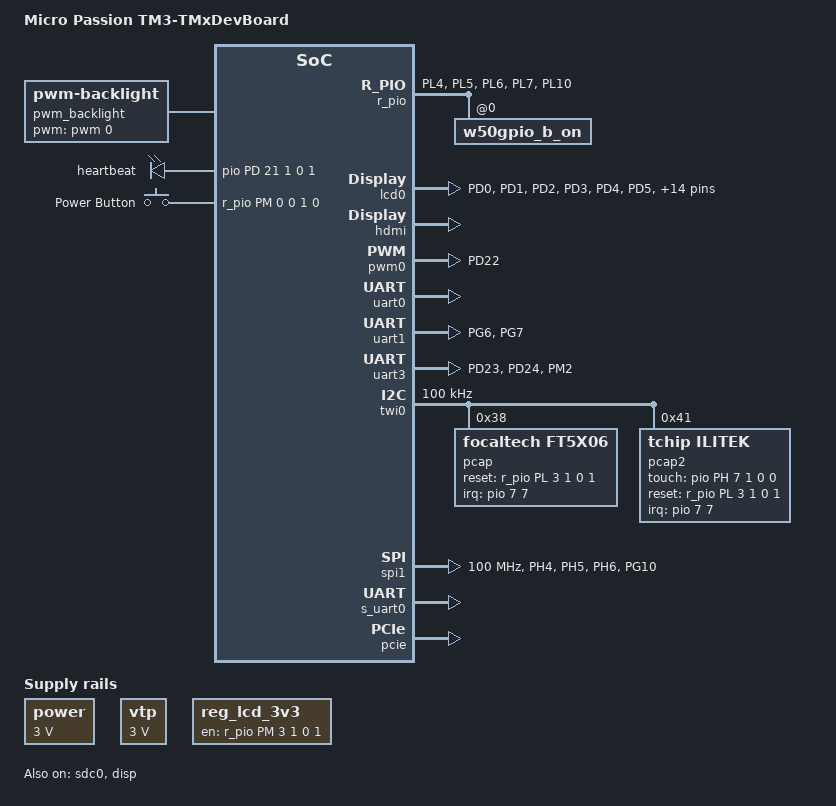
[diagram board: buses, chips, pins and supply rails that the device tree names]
/*
 * Allwinner Technology CO., Ltd. sun50iw6p1 soc board.
 *
 * soc board support.
 */

/dts-v1/;

#include <dt-bindings/input/input.h>

#include "tm3.dtsi"

/ {
	model = "Micro Passion TM3-TMxDevBoard";

	hbxregulators {
		compatible = "simple-bus";

		power{
			compatible = "regulator-fixed";
			regulator-name = "power";
			regulator-min-microvolt = <3000000>;
			regulator-max-microvolt = <3000000>;
			regulator-always-on;
		};

		vtp: vtpreg{
			compatible = "regulator-fixed";
			regulator-name = "vtp";
			regulator-min-microvolt = <3000000>;
			regulator-max-microvolt = <3000000>;
			regulator-always-on;
		};

		reg_lcd_3v3: lcd-3v3 {
			compatible = "regulator-fixed";
			regulator-name = "vcc-lcd-0";
			gpio = <&r_pio PM 3 1 0 1 0>;
			enable-active-high;
		};
	};	

	pwm_backlight: pwm-backlight
	{
		compatible = "pwm-backlight";
		pwms = <&pwm 0 10000>;
		brightness-levels = <0 1 2 3 4 5 6 7 8 9 10 11 12 13 14 15 16 17 18 19 20 21 22 23 24 25 26 27 28 29 30 31 32 33 34 35 36 37 38 39 40 41 42 43 44 45 46 47 48 49 50 51 52 53 54 55 56 57 58 59 60 61 62 63 64 65 66 67 68 69 70 71 72 73 74 75 76 77 78 79 80 81 82 83 84 85 86 87 88 89 90 91 92 93 94 95 96 97 98 99 100>;
		status = "okay";
		defaultbrightnesslevel=<80>;
		initial-blank-powerdown;
	};

	leds {
		compatible = "gpio-leds";
        status = "okay";

		debug-led {
			label = "heartbeat";
			gpios = <&pio  PD 21 1 0 1 0>;
			linux,defaulttrigger = "heartbeat";
		};
	};

	gpio-keys {
		compatible = "gpio-keys";

		power {
			label = "Power Button";
			gpios = <&r_pio PM 0 0 1 0 0>;
			gpio-key,wakeup;
			linux,code = <KEY_SLEEP>;
		};
	};
};

&pio
{
	pinctrl-0 = <&pinctrl_hog_hostboard>, <&w50gpio_a_on>;

	lcd0_pins_0: lcd0@0{
		allwinner,pins = "PD0", "PD1", "PD2", "PD3", "PD4", "PD5", "PD6", "PD7", "PD8", "PD9", "PD10", "PD11", "PD12", "PD13", "PD14", "PD15", "PD16", "PD17", "PD18", "PD19";
		allwinner,function = "lcd0";
		allwinner,pname = "lcdd0", "lcdd1", "lcdd2", "lcdd3", "lcdd4", "lcdd5", "lcdd6", "lcdd7", "lcdd8", "lcdd9", "lcdd10", "lcdd11", "lcdd12", "lcdd13", "lcdd14", "lcdd15", "lcdd16", "lcdd17", "lcdd18", "lcdd19";
		allwinner,muxsel = <0x2>;
		allwinner,pull = <0x0>;
		allwinner,drive = <0x03>;
		allwinner,data = <0xffffffff>;
	};

	lcd0_pins_1: lcd0@1{
		allwinner,pins = "PD0", "PD1", "PD2", "PD3", "PD4", "PD5", "PD6", "PD7", "PD8", "PD9", "PD10", "PD11", "PD12", "PD13", "PD14", "PD15", "PD16", "PD17", "PD18", "PD19";
		allwinner,function = "lcd0";
		allwinner,pname = "lcdd0", "lcdd1", "lcdd2", "lcdd3", "lcdd4", "lcdd5", "lcdd6", "lcdd7", "lcdd8", "lcdd9", "lcdd10", "lcdd11", "lcdd12", "lcdd13", "lcdd14", "lcdd15", "lcdd16", "lcdd17", "lcdd18", "lcdd19";
		allwinner,muxsel = <0x7>;
		allwinner,pull = <0x0>;
		allwinner,drive = <0xffffffff>;
		allwinner,data = <0xffffffff>;
	};

	pwm0_pins_0: pwm0@0 {
		allwinner,pins = "PD22";
		allwinner,function = "pwm0";
		allwinner,pname = "pwm_positive";
		allwinner,muxsel = <0x2>;
		allwinner,pull = <0x0>;
		allwinner,drive = <0xffffffff>;
		allwinner,data = <0xffffffff>;
	};

	pwm0_pins_1: pwm0@1 {
		allwinner,pins = "PD22";
		allwinner,function = "pwm0";
		allwinner,pname = "pwm_positive";
		allwinner,muxsel = <0x7>;
		allwinner,pull = <0x0>;
		allwinner,drive = <0xffffffff>;
		allwinner,data = <0xffffffff>;
	};

	uart1_pins_a: uart1@0 {
		allwinner,pins = "PG6", "PG7";
		allwinner,pname = "uart1_tx", "uart1_rx";
		allwinner,function = "uart1";
		allwinner,muxsel = <2>;
		allwinner,drive = <1>;
		allwinner,pull = <1>;
	};

	uart1_pins_b: uart1@1 {
		allwinner,pins = "PG6", "PG7";
		allwinner,function = "io_disabled";
		allwinner,muxsel = <7>;
		allwinner,drive = <1>;
		allwinner,pull = <0>;
	};

	uart3_uart_pins: uart3uartpins {
		allwinner,pins = "PD23", "PD24";
		allwinner,pname = "uart3_tx", "uart3_rx";
		allwinner,function = "uart3";
		allwinner,muxsel = <4>;
		allwinner,drive = <1>;
		allwinner,pull = <1>;
	};

	uart3_sleep_pins: uart3sleeppins {
		allwinner,pins = "PD23", "PD24";
		allwinner,function = "io_disabled";
		allwinner,muxsel = <7>;
		allwinner,drive = <1>;
		allwinner,pull = <0>;
	};

	spi1_pins_a: spi1@0 {
		allwinner,pins = "PH4", "PH5", "PH6";
		allwinner,pname = "spi1_sclk", "spi1_mosi",
					"spi1_miso";
		allwinner,function = "spi1";
		allwinner,muxsel = <2>;
		allwinner,drive = <1>;
		allwinner,pull = <0>;
	};

	spi1_pins_b: spi1@1 {
		allwinner,pins = "PG10";
		allwinner,pname = "spi1_cs0";
		allwinner,function = "spi1";
		allwinner,muxsel = <0>;
		allwinner,drive = <1>;
		allwinner,pull = <1>;	// only CS should be pulled up
	};

	spi1_pins_c: spi1@2 {
		allwinner,pins = "PG10", "PH4", "PH5", "PH6";
		allwinner,function = "io_disabled";
		allwinner,muxsel = <7>;
		allwinner,drive = <1>;
		allwinner,pull = <0>;
	};

	/* gpios exposed to  50w connector */
	w50gpio_a_on: w50gpio_a_on@0
	{
		/*          GPIO:    5      6      7       8       9      10     12*/
		allwinner,pins =   "PG8", "PG9", "PG12", "PG13", "PG14", "PF6", "PH3" ;
		allwinner,function = "gpio_in";
		allwinner,muxsel = <0>;
		allwinner,drive = <1>;
		allwinner,pull = <1>;
	};
};

&r_pio{
	pinctrl-0 = <&rpio_pinctrl_hog_hostboard>, <&w50gpio_b_on>;

	uart3_control_pins: uart3controlpins {
		allwinner,pins = "PM2";
		allwinner,pname = "entx";
		allwinner,function = "uart3";
		allwinner,muxsel = <0>;
		allwinner,drive = <0>;
		allwinner,pull = <0>;
	};


	/* gpios exposed to  50w connector */
	w50gpio_b_on: w50gpio_b_on@0
	{
		/*          GPIO:  1      2      3      4     11  */
		allwinner,pins = "PL4", "PL5", "PL6", "PL7", "PL10" ;
		allwinner,function = "gpio_in";
		allwinner,muxsel = <0>;
		allwinner,drive = <1>;
		allwinner,pull = <1>;
	};
};

&sdc0 {
	compatible = "allwinner,sunxi-mmc-v4p1x";
	device_type = "sdc0";
	reg = <0x0 0x04020000 0x0 0x1000>;
	interrupts = <GIC_SPI 35 0x0104>;
	clocks = <&clk_hosc>,
			<&clk_pll_periph1x2>,
			<&clk_sdmmc0_mod>,
			<&clk_sdmmc0_bus>,
			<&clk_sdmmc0_rst>;
	clock-names = "osc24m","pll_periph","mmc","ahb","rst";
	pinctrl-names = "default","sleep" ,"uart_jtag";
	pinctrl-0 = <&sdc0_pins_a>;
	pinctrl-1 = <&sdc0_pins_b>;
	pinctrl-2 = <&sdc0_pins_c>;
	max-frequency = <50000000>;
	bus-width = <4>;
	/*non-removable;*/
	/*broken-cd;*/
	/*cd-inverted*/
	cd-gpios = <&pio PG 11 0 0 0 0xffffffff>;
	cap-sd-highspeed;
	no-sdio;
	no-mmc;

	status = "okay";
};

/* 9inch */
&lcd0{
device_type = "lcd0";
	lcd_used = <0x1>;
	lcd_driver_name = "default_lcd";
	lcd_backlight = <0>;
	lcd_if = <0x0>;
	lcd_hv_if = <0x00>;
	lcd_x = <1024>;
	lcd_y = <768>;
	lcd_width = <0x96>;
	lcd_height = <0x5e>;
	lcd_dclk_freq = <100>;
	lcd_pwm_used = <0>;
	lcd_pwm_ch = <0>;
	lcd_pwm_freq = <10000>;
	lcd_pwm_pol = <0x1>;
	lcd_pwm_max_limit = <255>;
	lcd_hbp = <260>;
	lcd_ht = <2024>;
	lcd_hspw = <260>;
	lcd_vbp = <6>;
	lcd_vt = <800>;
	lcd_vspw = <10>;
	lcd_lvds_if = <0x0>;
	lcd_lvds_colordepth = <0x1>;
	lcd_lvds_mode = <0x0>;
	lcd_frm = <0x1>;
	lcd_hv_clk_phase = <0x2>;
	lcd_hv_sync_polarity = <0x1>;
	lcd_gamma_en = <0x0>;
	lcd_bright_curve_en = <0x0>;
	lcd_cmap_en = <0x0>;
	lcd_bl_en;
	lcd_bl_en_power = "none";
	lcd_power = "vcc-lcd-0";
	lcd_bl_device = <&pwm_backlight>;
	pinctrl-0 = <&lcd0_pins_0>;
	lcdd20 = <0xd6 0xc 0x3 0x1 0x0 0x1 0x1>;
	pinctrl-1 = <&lcd0_pins_1>;
};


/* 7 inch 
&lcd0{
device_type = "lcd0";
	lcd_used = <0x1>;
	lcd_driver_name = "default_lcd";
	lcd_backlight = <0>;
	lcd_if = <0x0>;
	lcd_hv_if = <0x00>;
	lcd_x = <800>;
	lcd_y = <480>;
	lcd_width = <165>;
	lcd_height = <104>;
	lcd_dclk_freq = <33>;
	lcd_pwm_used = <0>;
	lcd_pwm_ch = <0>;
	lcd_pwm_freq = <10000>;
	lcd_pwm_pol = <0x1>;
	lcd_pwm_max_limit = <255>;
	lcd_hbp = <46>;
	lcd_ht = <1056>;
	lcd_hspw = <46>;
	lcd_vbp = <24>;
	lcd_vt = <526>;
	lcd_vspw = <2>;
	lcd_lvds_if = <0x0>;
	lcd_lvds_colordepth = <0x1>;
	lcd_lvds_mode = <0x0>;
	lcd_frm = <0x1>;
	lcd_hv_clk_phase = <0x1>;
	lcd_hv_sync_polarity = <0x0>;
	lcd_gamma_en = <0x0>;
	lcd_bright_curve_en = <0x0>;
	lcd_cmap_en = <0x0>;
	lcd_bl_en;
	lcd_bl_en_power = "none";
	lcd_power = "vcc-lcd-0";
	pinctrl-0 = <&lcd0_pins_0>;
	lcdd20 = <0xd6 0xc 0x3 0x1 0x0 0x1 0x1>;
	pinctrl-1 = <&lcd0_pins_1>;
};
*/

/* 4.3 inch 
&lcd0{
device_type = "lcd0";
	lcd_used = <0x1>;
	lcd_driver_name = "default_lcd";
	lcd_backlight = <0>;
	lcd_if = <0x0>;
	lcd_hv_if = <0x00>;
	lcd_x = <480>;
	lcd_y = <272>;
	lcd_width = <0x96>;
	lcd_height = <0x5e>;
	lcd_dclk_freq = <9>;
	lcd_pwm_used = <0>;
	lcd_pwm_ch = <0>;
	lcd_pwm_freq = <10000>;
	lcd_pwm_pol = <0x1>;
	lcd_pwm_max_limit = <255>;
	lcd_hbp = <40>;
	lcd_ht = <525>;
	lcd_hspw = <1>;
	lcd_vbp = <8>;
	lcd_vt = <288>;
	lcd_vspw = <1>;
	lcd_lvds_if = <0x0>;
	lcd_lvds_colordepth = <0x1>;
	lcd_lvds_mode = <0x0>;
	lcd_frm = <0x1>;
	lcd_hv_clk_phase = <0x1>;
	lcd_hv_sync_polarity = <0x0>;
	lcd_gamma_en = <0x0>;
	lcd_bright_curve_en = <0x0>;
	lcd_cmap_en = <0x0>;
	lcd_bl_en;
	lcd_bl_en_power = "none";
	lcd_power = "vcc-lcd-0";
	pinctrl-0 = <&lcd0_pins_0>;
	lcdd20 = <0xd6 0xc 0x3 0x1 0x0 0x1 0x1>;
	pinctrl-1 = <&lcd0_pins_1>;
};
*/

/*
&boot_disp{
	compatible = "allwinner,boot_disp";
	device_type = "boot_disp";
	auto_hpd = <0x1>;
	output_disp = <0x0>;
	output_type = <0x3>;
	output_mode = <0xb>;
	output_format = <0x1>;
	output_bits = <0x0>;
	output_eotf = <0x4>;
	output_cs = <0x104>;
	hdmi_channel = <0x0>;
	hdmi_mode = <0x4>;
};
*/

&disp{
	compatible = "allwinner,sunxi-disp";
	reg =	<0x0 0x01000000 0x0 0x01400000>,/*de*/
			<0x0 0x06510000 0x0 0x100>,/*tcon-top*/
			<0x0 0x06511000 0x0 0x800>,/*tcon0*/
			<0x0 0x06515000 0x0 0x800>;/*tcon1*/
	interrupts = <GIC_SPI 65 0x0104>, <GIC_SPI 66 0x0104>;
	clocks = <&clk_de>, <&clk_display_top>,  <&clk_tcon_lcd>, <&clk_tcon_tv>;
	boot_disp = <0x0>;
	boot_disp1 = <0x0>;
	boot_disp2 = <0x0>;
	fb_base = <0x0>;
	iommus = <&mmu_aw 0 0>;
	status = "okay";
	device_type = "disp";
	disp_init_enable = <0x1>;
	disp_mode = <0>;
	screen0_output_type = <0x1>;
	screen0_output_mode = <0xa>;
	screen0_output_format = <0xa>;
	screen0_output_bits = <0x0>;
	screen0_output_eotf = <0x4>;
	screen0_output_cs = <0x101>;
	screen0_output_dvi_hdmi = <0x2>;
	screen0_output_range = <0x2>;
	screen0_output_scan = <0x0>;
	screen0_output_aspect_ratio = <10>;
	screen1_output_type = <0x3>;
	screen1_output_mode = <0xa>; //1920x1080p60
	screen1_output_format = <0xa>;
	screen1_output_bits = <0x0>;
	screen1_output_eotf = <0x4>;
	screen1_output_cs = <0x104>;
	screen1_output_dvi_hdmi = <0x2>;
	screen1_output_range = <0x2>;
	screen1_output_scan = <0x0>;
	screen1_output_aspect_ratio = <0x8>;
	dev0_output_type = <0x1>;
	dev0_output_mode = <0xa>;
	dev0_screen_id = <0x0>;
	dev0_do_hpd = <0x0>;
	dev1_output_type = <0x4>;
	dev1_output_mode = <0xa>;
	dev1_screen_id = <0x1>;
	dev1_do_hpd = <0x1>;
	dev2_output_type = <0x0>;
	def_output_dev = <0x0>;
	hdmi_mode_check = <0x1>;
	fb0_format = <0x0>;
	fb0_width = <0>;
	fb0_height = <0>;
	fb1_format = <0x0>;
	fb1_width = <0x0>;
	fb1_height = <0x0>;
	disp_para_zone = <0x1>;
};


&hdmi{
	device_type = "hdmi";
	status = "okay";
	hdmi_hdcp_enable = <0x0>;
	hdmi_hdcp22_enable = <0x0>;
	hdmi_cts_compatibility = <0x0>;
	hdmi_cec_support = <0x1>;
	hdmi_cec_super_standby = <0x1>;
	hdmi_skip_bootedid = <0x1>;
	pinctrl-0 = <&hdmi_ddc_pin_a>;
	ddc_en_io_ctrl = <0x0>;
};

&pwm0
{
	device_type = "pwm0";
	pwm_used = <0x1>;
	pinctrl-0 = <&pwm0_pins_0>;
	pinctrl-1 = <&pwm0_pins_1>;
};

&uart0 {
	pinctrl-names = "default", "sleep";
	pinctrl-0 = <&uart0_pins_a>;
	pinctrl-1 = <&uart0_pins_b>;
	uart0_port = <0>;
	uart0_type = <2>;
	status = "okay";
};

&uart1 {
	compatible = "allwinner,sun50i-uart";
	device_type = "uart1";
	reg = <0x0 0x05000400 0x0 0x400>;
	interrupts = <GIC_SPI 1 IRQ_TYPE_LEVEL_HIGH>;
	clocks = <&clk_uart1>;
	pinctrl-names = "default", "sleep";
	pinctrl-0 = <&uart1_pins_a>;
	pinctrl-1 = <&uart1_pins_b>;
	uart1_port = <1>;
	uart1_type = <2>;
	status = "okay";
};

&uart3 {
	compatible = "allwinner,sun50i-uart";
	device_type = "uart3";
	reg = <0x0 0x05000c00 0x0 0x400>;
	interrupts = <GIC_SPI 3 IRQ_TYPE_LEVEL_HIGH>;
	clocks = <&clk_uart3>;
	pinctrl-names = "default", "sleep";
	pinctrl-0 = <&uart3_uart_pins &uart3_control_pins>;
	pinctrl-1 = <&uart3_sleep_pins>;
	uart3_port = <3>;
	uart3_type = <2>;
	status = "okay";
};

&twi0 {
	status = "okay";
	clock-frequency = <100000>;

	pcap: ft5x06@38 {
		compatible = "focaltech,ft5x06";
		reg = <0x38>;
        	interrupt-parent = <&pio>;
        	interrupts = <7 7 IRQ_TYPE_EDGE_FALLING>; /* PH7 */
		reset-gpio = <&r_pio PL 3 1 0 1 0>;
		linux,wakeup;
		status = "okay"; 
	};

	pcap2: ilitek@41 {	
		compatible = "tchip,ilitek";
		reg = <0x41>;
        	interrupt-parent = <&pio>;
        	interrupts = <7 7 IRQ_TYPE_EDGE_FALLING>; /* PH7 */
		touch-gpio = <&pio PH 7 1 0 0 0xffffffff>;
		reset-gpio = <&r_pio PL 3 1 0 1 0>;
		linux,wakeup;
		status = "okay";
	};
};

&pinctrl_hog_hostboard{
	allwinner,pins = "PH7";
	allwinner,function = "irq";
	allwinner,muxsel = <0x6>;
	allwinner,pull = <0xffffffff>;
	allwinner,drive =<0xffffffff>;
	allwinner,data = <0xffffffff>;
};


&rpio_pinctrl_hog_hostboard{
	allwinner,pins = "PM0";
	allwinner,function = "gpio";
	allwinner,muxsel = <0>;
	allwinner,drive = <0>;
	allwinner,pull = <1>;
};


&spi1{
	#address-cells = <1>;
	#size-cells = <0>;
	compatible = "allwinner,sun50i-spi";
	device_type = "spi1";
	reg = <0x0 0x05011000 0x0 0x1000>;
	interrupts = <GIC_SPI 11 IRQ_TYPE_LEVEL_HIGH>;
	clocks = <&clk_pll_periph0>, <&clk_spi1>;
	clock-frequency = <100000000>;
	pinctrl-names = "default", "sleep";
	pinctrl-0 = <&spi1_pins_a &spi1_pins_b>;
	pinctrl-1 = <&spi1_pins_c>;
	spi1_cs_number = <1>;
	spi1_cs_bitmap = <1>;
	cs-gpios = <&pio PG 10 0 0 0 0xffffffff>;
	usegpiocs = <1>;
	status = "okay";

	tsc2046: tsc2046 {
		reg = <0>;
		compatible = "ti,tsc2046";
		interrupt-parent = <&pio>;
		interrupts =  <7 7 IRQ_TYPE_EDGE_FALLING>; /* PH7 */
		spi-max-frequency = <150000>;
		pendown-gpio = <&pio PH 7 0 0 1 0>; 
		vcc-supply = <&vtp>;
		//ti,x-min = /bits/ 16 <220>;
		//ti,x-max = /bits/ 16 <3400>;
		//ti,y-min = /bits/ 16 <190>;
		//ti,y-max = /bits/ 16 <1950>;
		ti,x-plate-ohms = /bits/ 16 <180>;
		ti,y-plate-ohms = /bits/ 16 <180>;
		ti,pressure-max = /bits/ 16 <700>;
		//ti,penirq-recheck-delay-usecs = /bits/ 16 <550>;
		ti,debounce-rep = /bits/ 16 <1>;
		ti,debounce-tol = /bits/ 16 <8>;
		ti,debounce-max = /bits/ 16 <8>;
		//ti,settle-delay-usec = /bits/ 16 <1>;
		ti,vref-mv = /bits/ 16 <3060>;
		ti,keep-vref-on;
		linux,wakeup;
		status = "disabled";
	};

};

&s_uart0
{
	status = "okay";
};

&usbc0
{
	usb_port_type = <0>;
	usb_detect_type = <0>;
};

&pcie
{
	status = "okay";
};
